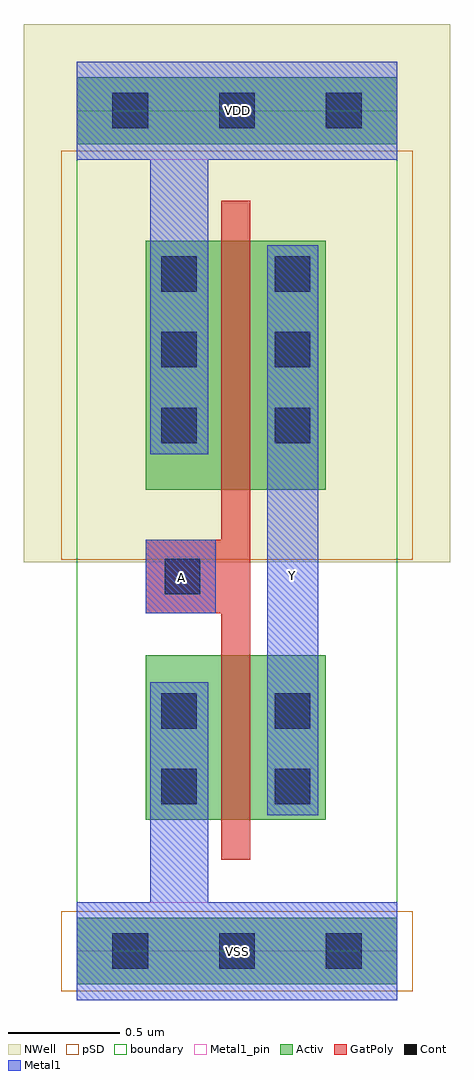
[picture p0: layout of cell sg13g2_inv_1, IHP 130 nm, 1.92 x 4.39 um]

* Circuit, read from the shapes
.subckt sg13g2_inv_1 A VDD VSS Y
XM1 Y A VSS VSS sg13_lv_nmos w=0.74u l=0.13u
XM2 Y A VDD VDD sg13_lv_pmos w=1.12u l=0.13u
.ends

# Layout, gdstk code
import gdstk
lib = gdstk.Library(unit=1e-6, precision=1e-09)
def R(c, l, rs):  # rectangles x0, y0, x1, y1
    for r in rs: c.add(gdstk.rectangle(r[:2], r[2:], *l))
def A(c, l, x, y, w, h, nx, ny, dx, dy):  # array of equal rectangles
    R(c, l, [(x+i*dx, y+j*dy, x+i*dx+w, y+j*dy+h) for i in range(nx) for j in range(ny)])
def P(c, l, *ps):  # polygons
    for p in ps: c.add(gdstk.Polygon(p, *l))
Activ = (1, 0)
GatPoly = (5, 0)
Cont = (6, 0)
Metal1 = (8, 0)
Metal1_pin = (8, 2)
pSD = (14, 0)
NWell = (31, 0)
boundary = (189, 4)

sg13g2_inv_1_1 = lib.new_cell('sg13g2_inv_1$1')
R(sg13g2_inv_1_1, Activ, [(0,-0.15,1.44,0.15), (0.31,0.59,1.12,1.33), (0.31,2.075,1.12,3.195), (0,3.63,1.44,3.93)])
P(sg13g2_inv_1_1, GatPoly, [(0.65,0.41),(0.65,1.52),(0.31,1.52),(0.31,1.85),(0.65,1.85),(0.65,3.375),(0.78,3.375),(0.78,0.41)])
A(sg13g2_inv_1_1, Cont, 0.38, 2.285, 0.16, 0.16, 1, 3, 0, 0.34)
A(sg13g2_inv_1_1, Cont, 0.89, 2.285, 0.16, 0.16, 1, 3, 0, 0.34)
R(sg13g2_inv_1_1, Cont, [(0.16,-0.08,0.32,0.08), (0.16,-0.08,0.32,0.08), (0.64,-0.08,0.8,0.08), (0.64,-0.08,0.8,0.08), (1.12,-0.08,1.28,0.08), (1.12,-0.08,1.28,0.08), (0.38,0.66,0.54,0.82), (0.89,0.66,1.05,0.82), (0.38,1,0.54,1.16), (0.89,1,1.05,1.16), (0.395,1.605,0.555,1.765), (0.16,3.7,0.32,3.86), (0.16,3.7,0.32,3.86), (0.64,3.7,0.8,3.86), (0.64,3.7,0.8,3.86), (1.12,3.7,1.28,3.86), (1.12,3.7,1.28,3.86)])
R(sg13g2_inv_1_1, Metal1, [(0.855,0.61,1.085,3.175), (0.31,1.52,0.625,1.85)])
P(sg13g2_inv_1_1, Metal1, [(0.33,2.235),(0.33,3.56),(0,3.56),(0,4),(1.44,4),(1.44,3.56),(0.59,3.56),(0.59,2.235)],
  [(0,-0.22),(0,0.22),(0.33,0.22),(0.33,1.21),(0.59,1.21),(0.59,0.22),(1.44,0.22),(1.44,-0.22)])
R(sg13g2_inv_1_1, Metal1_pin, [(0,-0.22,1.44,0.22), (0.855,0.61,1.085,3.175), (0.31,1.52,0.625,1.85), (0,3.56,1.44,4)])
R(sg13g2_inv_1_1, pSD, [(-0.07,-0.18,1.51,0.18), (-0.07,1.76,1.51,3.6)])
R(sg13g2_inv_1_1, NWell, [(-0.24,1.75,1.68,4.17)])
R(sg13g2_inv_1_1, boundary, [(0,0,1.44,3.78)])
sg13g2_inv_1_1.add(gdstk.Label('Y', (0.98,1.69), layer=8, texttype=25))
sg13g2_inv_1_1.add(gdstk.Label('A', (0.48,1.68), layer=8, texttype=25))
sg13g2_inv_1_1.add(gdstk.Label('VSS', (0.72,-0.02), layer=8, texttype=25))
sg13g2_inv_1_1.add(gdstk.Label('VDD', (0.705,3.78), layer=8, texttype=25))

sg13g2_inv_1 = lib.new_cell('sg13g2_inv_1')
R(sg13g2_inv_1, Metal1_pin, [(0.835,0.095,1.085,0.345), (0.585,1.775,0.835,2.025), (1.11,1.81,1.31,2.01), (0.835,3.875,1.085,4.125)])
sg13g2_inv_1.add(gdstk.Reference(sg13g2_inv_1_1, (0.24,0.22)))
sg13g2_inv_1.add(gdstk.Label('VSS', (0.96,0.22), layer=8, texttype=25))
sg13g2_inv_1.add(gdstk.Label('VDD', (0.96,4), layer=8, texttype=25))
sg13g2_inv_1.add(gdstk.Label('A', (0.71,1.9), layer=8, texttype=25))
sg13g2_inv_1.add(gdstk.Label('Y', (1.21,1.91), layer=8, texttype=25))

lib.write_gds('sg13g2_inv_1.gds')
